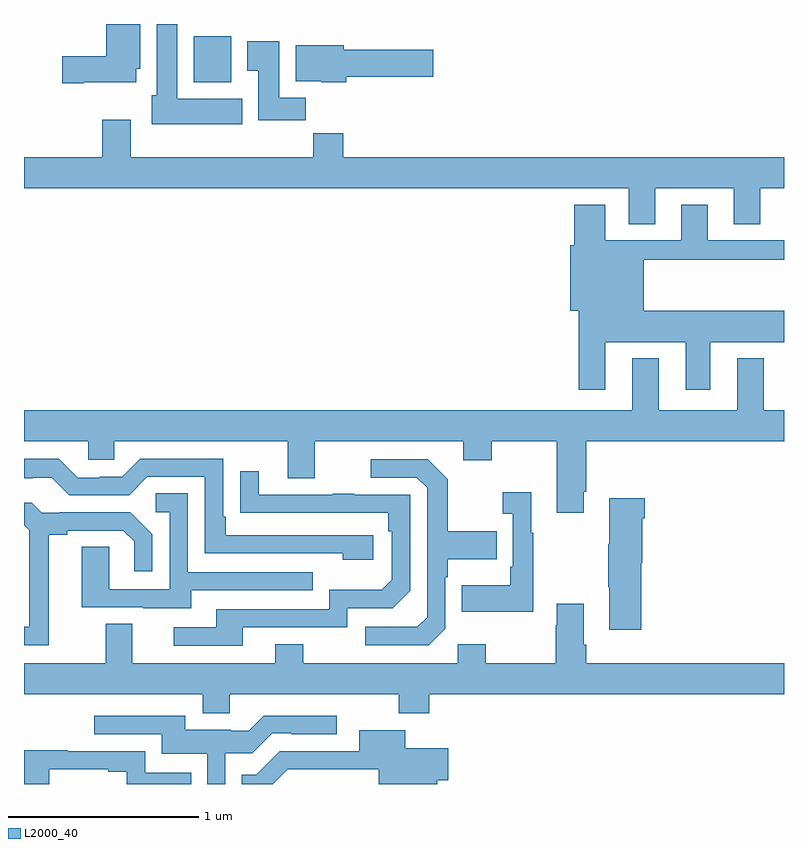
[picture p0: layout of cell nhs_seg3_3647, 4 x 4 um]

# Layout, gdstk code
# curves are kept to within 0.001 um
import gdstk
lib = gdstk.Library(unit=1e-6, precision=1e-09)
def R(c, l, rs):  # rectangles x0, y0, x1, y1
    for r in rs: c.add(gdstk.rectangle(r[:2], r[2:], *l))
def P(c, l, *ps):  # polygons
    for p in ps: c.add(gdstk.Polygon(p, *l))
L2000_40 = (2000, 40)

nhs_seg3_3647 = lib.new_cell('nhs_seg3_3647')
R(nhs_seg3_3647, L2000_40, [(299.894,748.094,300.091,748.336)])
P(nhs_seg3_3647, L2000_40, [(300.148,748.006),(299.806,748.006),(299.806,748.4),(299.699,748.4),(299.699,748.026),(299.672,748.026),(299.672,747.872),(300.148,747.872)],
  [(299.314,748.094),(299.59,748.094),(299.59,748.164),(299.611,748.164),(299.611,748.4),(299.432,748.4),(299.432,748.229),(299.202,748.229),(299.202,748.087),(299.314,748.087)],
  [(300.482,748.012),(300.343,748.012),(300.343,748.309),(300.176,748.309),(300.176,748.153),(300.233,748.153),(300.233,747.894),(300.482,747.894)],
  [(300.695,748.123),(301.153,748.123),(301.153,748.265),(300.682,748.265),(300.682,748.288),(300.431,748.288),(300.431,748.1),(300.564,748.1),(300.564,748.094),(300.695,748.094)],
  [(302.323,747.536),(302.735,747.536),(302.735,747.346),(302.875,747.346),(302.875,747.536),(303,747.536),(303,747.7),(300.68,747.7),(300.68,747.824),(300.523,747.824),(300.523,747.7),(299.563,747.7),(299.563,747.895),(299.411,747.895),(299.411,747.7),(299,747.7),(299,747.536),(302.183,747.536),(302.183,747.346),(302.323,747.346)],
  [(302.059,746.726),(302.483,746.726),(302.483,746.475),(302.611,746.475),(302.611,746.726),(303,746.726),(303,746.89),(302.263,746.89),(302.263,747.16),(303,747.16),(303,747.261),(302.599,747.261),(302.599,747.448),(302.459,747.448),(302.459,747.261),(302.059,747.261),(302.059,747.448),(301.895,747.448),(301.895,747.235),(301.874,747.235),(301.874,746.891),(301.919,746.891),(301.919,746.475),(302.059,746.475)],
  [(301.945,745.939),(301.958,745.939),(301.958,746.204),(303,746.204),(303,746.368),(302.893,746.368),(302.893,746.641),(302.753,746.641),(302.753,746.368),(302.341,746.368),(302.341,746.641),(302.201,746.641),(302.201,746.368),(299,746.368),(299,746.204),(299.337,746.204),(299.337,746.106),(299.475,746.106),(299.475,746.204),(300.389,746.204),(300.389,746.01),(300.529,746.01),(300.529,746.204),(301.313,746.204),(301.313,746.105),(301.461,746.105),(301.461,746.204),(301.805,746.204),(301.805,745.827),(301.945,745.827)],
  [(300.838,745.71),(300.061,745.71),(300.061,745.807),(300.048,745.807),(300.048,746.112),(299.613,746.112),(299.517,746.016),(299.399,746.016),(299.399,746.013),(299.283,746.013),(299.183,746.113),(299,746.113),(299,746.009),(299.045,746.009),(299.045,746.013),(299.145,746.013),(299.238,745.92),(299.553,745.92),(299.649,746.016),(299.952,746.016),(299.952,745.614),(300.677,745.614),(300.677,745.58),(300.838,745.58)],
  [(301.218,745.218),(301.218,745.487),(301.231,745.487),(301.231,745.583),(301.487,745.583),(301.487,745.731),(301.231,745.731),(301.231,746.003),(301.125,746.109),(300.825,746.109),(300.825,746.013),(301.068,746.013),(301.122,745.959),(301.122,745.278),(301.071,745.227),(300.795,745.227),(300.795,745.131),(301.131,745.131)],
  [(300.151,745.224),(300.702,745.224),(300.702,745.326),(300.942,745.326),(301.032,745.416),(301.032,745.923),(300.737,745.923),(300.737,745.928),(300.625,745.928),(300.625,745.923),(300.235,745.923),(300.235,746.047),(300.139,746.047),(300.139,745.828),(300.916,745.827),(300.916,745.73),(300.936,745.73),(300.936,745.476),(300.883,745.423),(300.606,745.423),(300.606,745.32),(300.011,745.32),(300.011,745.224),(299.787,745.224),(299.787,745.128),(300.151,745.128)],
  [(301.681,745.723),(301.669,745.723),(301.669,745.936),(301.521,745.936),(301.521,745.823),(301.572,745.823),(301.572,745.543),(301.56,745.543),(301.56,745.447),(301.303,745.447),(301.303,745.307),(301.681,745.307)],
  [(299.881,745.419),(300.521,745.419),(300.521,745.515),(299.862,745.515),(299.862,745.931),(299.694,745.931),(299.694,745.83),(299.766,745.83),(299.766,745.425),(299.448,745.425),(299.448,745.649),(299.303,745.649),(299.303,745.329),(299.627,745.329),(299.627,745.325),(299.881,745.325)],
  [(302.249,745.563),(302.254,745.563),(302.254,745.799),(302.267,745.799),(302.267,745.903),(302.081,745.903),(302.081,745.663),(302.074,745.663),(302.074,745.435),(302.081,745.435),(302.081,745.212),(302.249,745.212)],
  [(299.131,745.712),(299.227,745.712),(299.227,745.734),(299.522,745.734),(299.579,745.677),(299.579,745.521),(299.676,745.521),(299.676,745.714),(299.56,745.83),(299.188,745.83),(299.188,745.827),(299.094,745.827),(299.042,745.879),(299,745.879),(299,745.762),(299.027,745.735),(299.027,745.227),(299,745.227),(299,745.131),(299.131,745.131)],
  [(300.082,744.872),(300.973,744.872),(300.973,744.773),(301.133,744.773),(301.133,744.872),(303,744.872),(303,745.036),(301.958,745.036),(301.958,745.132),(301.945,745.132),(301.945,745.348),(301.805,745.348),(301.805,745.235),(301.798,745.235),(301.798,745.036),(301.431,745.036),(301.431,745.135),(301.284,745.135),(301.284,745.036),(300.471,745.036),(300.471,745.135),(300.323,745.135),(300.323,745.036),(299.569,745.036),(299.569,745.244),(299.429,745.244),(299.429,745.036),(299,745.036),(299,744.872),(299.942,744.872),(299.942,744.773),(300.082,744.773)],
  [(300.06,744.561),(300.201,744.561),(300.306,744.666),(300.406,744.666),(300.406,744.663),(300.646,744.663),(300.646,744.76),(300.262,744.76),(300.183,744.681),(300.089,744.681),(300.089,744.685),(299.848,744.685),(299.848,744.759),(299.37,744.759),(299.37,744.663),(299.726,744.663),(299.726,744.56),(299.964,744.56),(299.964,744.4),(300.06,744.4)],
  [(300.387,744.477),(300.866,744.477),(300.866,744.4),(301.174,744.4),(301.174,744.419),(301.234,744.419),(301.234,744.589),(301.006,744.589),(301.006,744.682),(300.764,744.682),(300.764,744.573),(300.347,744.573),(300.222,744.448),(300.145,744.448),(300.145,744.4),(300.31,744.4)],
  [(299.133,744.477),(299.444,744.477),(299.444,744.465),(299.541,744.465),(299.541,744.4),(299.879,744.4),(299.879,744.46),(299.637,744.46),(299.637,744.573),(299.23,744.573),(299.23,744.578),(299,744.578),(299,744.4),(299.133,744.4)])

lib.write_gds('nhs_seg3_3647.gds')
